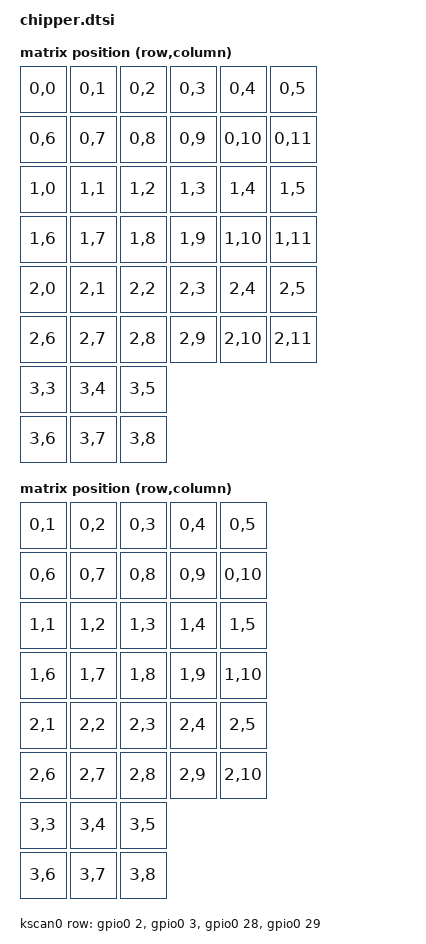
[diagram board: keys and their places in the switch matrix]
/*
 * Corne Choc XIAO / XIAO nRF52840 Sense
 * OLED-less ZMK configuration.
 *
 * Based on the supplied JonMuller/gerbers Chipper configuration.
 */

#include <dt-bindings/zmk/matrix_transform.h>
#include <physical_layouts.dtsi>

/ {
    chosen {
        zmk,kscan = &kscan0;
        zmk,physical-layout = &chipper_physical_layout;
    };

    /*
     * 36-key Corne physical layout.
     *
     * Key order matches five_column_transform and chipper.keymap:
     *
     *  0  1  2  3  4    5  6  7  8  9
     * 10 11 12 13 14   15 16 17 18 19
     * 20 21 22 23 24   25 26 27 28 29
     *       30 31 32       33 34 35
     */
    chipper_physical_layout: chipper_physical_layout {
        compatible = "zmk,physical-layout";
        display-name = "Chipper";

        kscan = <&kscan0>;
        transform = <&five_column_transform>;

        keys =
            /* Row 1 */
            <&key_physical_attrs 100 100   0   0 0 0 0>,
            <&key_physical_attrs 100 100 100   0 0 0 0>,
            <&key_physical_attrs 100 100 200   0 0 0 0>,
            <&key_physical_attrs 100 100 300   0 0 0 0>,
            <&key_physical_attrs 100 100 400   0 0 0 0>,

            <&key_physical_attrs 100 100 700   0 0 0 0>,
            <&key_physical_attrs 100 100 800   0 0 0 0>,
            <&key_physical_attrs 100 100 900   0 0 0 0>,
            <&key_physical_attrs 100 100 1000  0 0 0 0>,
            <&key_physical_attrs 100 100 1100  0 0 0 0>,

            /* Row 2 */
            <&key_physical_attrs 100 100   0 100 0 0 0>,
            <&key_physical_attrs 100 100 100 100 0 0 0>,
            <&key_physical_attrs 100 100 200 100 0 0 0>,
            <&key_physical_attrs 100 100 300 100 0 0 0>,
            <&key_physical_attrs 100 100 400 100 0 0 0>,

            <&key_physical_attrs 100 100 700 100 0 0 0>,
            <&key_physical_attrs 100 100 800 100 0 0 0>,
            <&key_physical_attrs 100 100 900 100 0 0 0>,
            <&key_physical_attrs 100 100 1000 100 0 0>,
            <&key_physical_attrs 100 100 1100 100 0 0>,

            /* Row 3 */
            <&key_physical_attrs 100 100   0 200 0 0 0>,
            <&key_physical_attrs 100 100 100 200 0 0 0>,
            <&key_physical_attrs 100 100 200 200 0 0 0>,
            <&key_physical_attrs 100 100 300 200 0 0 0>,
            <&key_physical_attrs 100 100 400 200 0 0 0>,

            <&key_physical_attrs 100 100 700 200 0 0 0>,
            <&key_physical_attrs 100 100 800 200 0 0 0>,
            <&key_physical_attrs 100 100 900 200 0 0 0>,
            <&key_physical_attrs 100 100 1000 200 0 0>,
            <&key_physical_attrs 100 100 1100 200 0 0>,

            /* Thumb keys */
            <&key_physical_attrs 100 100 100 300 0 0 0>,
            <&key_physical_attrs 100 100 200 300 0 0 0>,
            <&key_physical_attrs 100 100 300 300 0 0 0>,

            <&key_physical_attrs 100 100 800 300 0 0 0>,
            <&key_physical_attrs 100 100 900 300 0 0 0>,
            <&key_physical_attrs 100 100 1000 300 0 0 0>;
    };

    /*
     * Original full transform.
     * Kept unchanged for compatibility.
     */
    default_transform: keymap_transform_0 {
        compatible = "zmk,matrix-transform";
        columns = <12>;
        rows = <4>;
        map = <
            RC(0,0) RC(0,1) RC(0,2) RC(0,3) RC(0,4) RC(0,5)
            RC(0,6) RC(0,7) RC(0,8) RC(0,9) RC(0,10) RC(0,11)

            RC(1,0) RC(1,1) RC(1,2) RC(1,3) RC(1,4) RC(1,5)
            RC(1,6) RC(1,7) RC(1,8) RC(1,9) RC(1,10) RC(1,11)

            RC(2,0) RC(2,1) RC(2,2) RC(2,3) RC(2,4) RC(2,5)
            RC(2,6) RC(2,7) RC(2,8) RC(2,9) RC(2,10) RC(2,11)

            RC(3,3) RC(3,4) RC(3,5)
            RC(3,6) RC(3,7) RC(3,8)
        >;
    };

    /*
     * Current Chipper 5-column-per-half transform.
     * Do not change this mapping.
     */
    five_column_transform: keymap_transform_1 {
        compatible = "zmk,matrix-transform";
        columns = <10>;
        rows = <4>;
        map = <
            RC(0,1) RC(0,2) RC(0,3) RC(0,4) RC(0,5)
            RC(0,6) RC(0,7) RC(0,8) RC(0,9) RC(0,10)

            RC(1,1) RC(1,2) RC(1,3) RC(1,4) RC(1,5)
            RC(1,6) RC(1,7) RC(1,8) RC(1,9) RC(1,10)

            RC(2,1) RC(2,2) RC(2,3) RC(2,4) RC(2,5)
            RC(2,6) RC(2,7) RC(2,8) RC(2,9) RC(2,10)

            RC(3,3) RC(3,4) RC(3,5)
            RC(3,6) RC(3,7) RC(3,8)
        >;
    };

    kscan0: kscan {
        compatible = "zmk,kscan-gpio-matrix";
        label = "KSCAN";

        diode-direction = "col2row";

        row-gpios =
            <&gpio0 2  (GPIO_ACTIVE_HIGH | GPIO_PULL_DOWN)>,
            <&gpio0 3  (GPIO_ACTIVE_HIGH | GPIO_PULL_DOWN)>,
            <&gpio0 28 (GPIO_ACTIVE_HIGH | GPIO_PULL_DOWN)>,
            <&gpio0 29 (GPIO_ACTIVE_HIGH | GPIO_PULL_DOWN)>;
    };
};

&uicr {
    nfct-pins-as-gpios;
};
